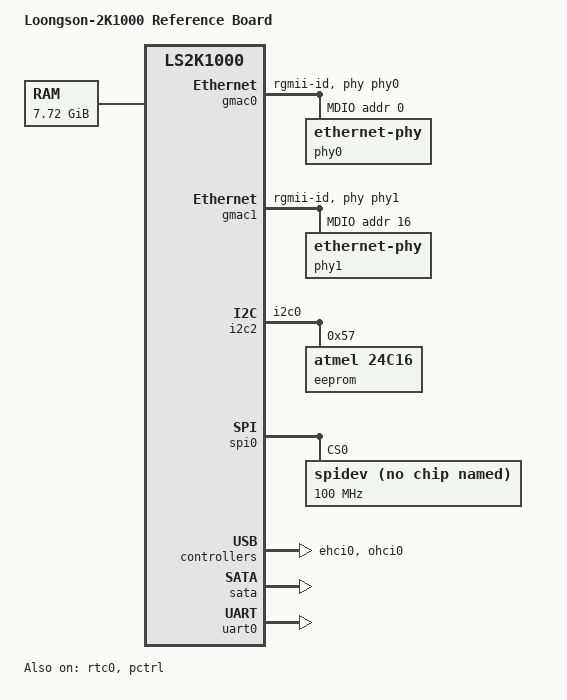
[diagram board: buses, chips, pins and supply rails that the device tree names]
// SPDX-License-Identifier: GPL-2.0
/*
 * Copyright (C) 2023 Loongson Technology Corporation Limited
 */

/dts-v1/;

#include "loongson-2k1000.dtsi"

/ {
	compatible = "loongson,ls2k1000-ref", "loongson,ls2k1000";
	model = "Loongson-2K1000 Reference Board";

	aliases {
		serial0 = &uart0;
	};

	chosen {
		stdout-path = "serial0:115200n8";
	};

	memory@200000 {
		device_type = "memory";
		reg = <0x0 0x00200000 0x0 0x06e00000>,
		      <0x0 0x08000000 0x0 0x07000000>,
		      <0x0 0x90000000 0x1 0xe0000000>;
	};

	reserved-memory {
		#address-cells = <2>;
		#size-cells = <2>;
		ranges;

		linux,cma {
			compatible = "shared-dma-pool";
			reusable;
			size = <0x0 0x2000000>;
			linux,cma-default;
		};
	};
};

&gmac0 {
	status = "okay";

	phy-mode = "rgmii-id";
	phy-handle = <&phy0>;
	mdio {
		compatible = "snps,dwmac-mdio";
		#address-cells = <1>;
		#size-cells = <0>;
		phy0: ethernet-phy@0 {
			reg = <0>;
		};
	};
};

&gmac1 {
	status = "okay";

	phy-mode = "rgmii-id";
	phy-handle = <&phy1>;
	mdio {
		compatible = "snps,dwmac-mdio";
		#address-cells = <1>;
		#size-cells = <0>;
		phy1: ethernet-phy@1 {
			reg = <16>;
		};
	};
};

&i2c2 {
	status = "okay";

	pinctrl-0 = <&i2c0_pins_default>;
	pinctrl-names = "default";

	#address-cells = <1>;
	#size-cells = <0>;
	eeprom@57 {
		compatible = "atmel,24c16";
		reg = <0x57>;
		pagesize = <16>;
	};
};

&spi0 {
	status = "okay";

	#address-cells = <1>;
	#size-cells = <0>;
	spidev@0 {
		compatible = "rohm,dh2228fv";
		spi-max-frequency = <100000000>;
		reg = <0>;
	};
};

&ehci0 {
	status = "okay";
};

&ohci0 {
	status = "okay";
};

&sata {
	status = "okay";
};

&uart0 {
	status = "okay";
};

&rtc0 {
	status = "okay";
};

&pctrl {
	status = "okay";

	sdio_pins_default: sdio-pins {
		sdio-pinmux {
			groups = "sdio";
			function = "sdio";
		};
		sdio-det-pinmux {
			groups = "pwm2";
			function = "gpio";
		};
	};

	pwm1_pins_default: pwm1-pins {
		pinmux {
			groups = "pwm1";
			function = "pwm1";
		};
	};

	pwm0_pins_default: pwm0-pins {
		pinmux {
			groups = "pwm0";
			function = "pwm0";
		};
	};

	i2c1_pins_default: i2c1-pins {
		pinmux {
			groups = "i2c1";
			function = "i2c1";
		};
	};

	i2c0_pins_default: i2c0-pins {
		pinmux {
			groups = "i2c0";
			function = "i2c0";
		};
	};

	nand_pins_default: nand-pins {
		pinmux {
			groups = "nand";
			function = "nand";
		};
	};

	hda_pins_default: hda-pins {
		grp0-pinmux {
			groups = "hda";
			function = "hda";
		};
		grp1-pinmux {
			groups = "i2s";
			function = "gpio";
		};
	};
};
